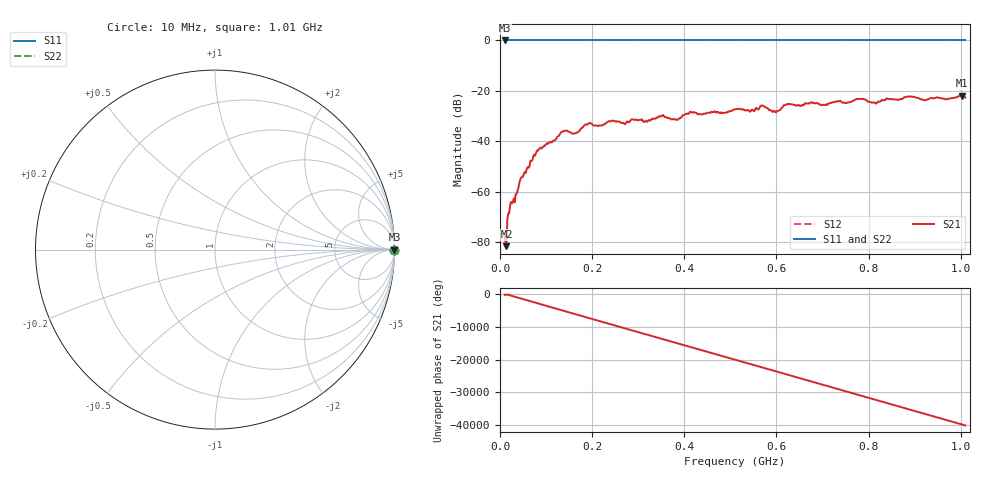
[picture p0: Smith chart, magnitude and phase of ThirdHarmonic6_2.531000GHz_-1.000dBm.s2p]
! 8/17/2025 5:03:02 AM
! C:\ANRITSUVNA\TEMP\TEMP.S2P
! CHANNEL.1
! TR.MEASUREMENT
! RAW.DATA
! RF.CORRECTION.OFF
! AVERAGING.OFF
! IF.BANDWIDTH: 5KHZ
! SWEEPTYPE:  FREQ.SWEEP(Linear)
! Reference Plane Port Info
! PORT:  PORT1  PORT2
! DISTANCE:  0  m  0  m
! TIME:  0  s  0  s
! PHASE.OFFSET:  0  deg.  0  deg.
! LOSS:  0  dB  0  dB
! REF.LOSS:  0  dB  0  dB
! REF.FREQ:  0  Hz  0  Hz
! Power Info
! POWER:  -20  dBm  -20  dBm
! EFF.POWER:  -20  dBm  -20  dBm
! SOURCE.ATTEN:  0  dB  0  dB
! TEST.ATTEN:  0  dB  0  dB
# GHZ S RI R 50.0
! FREQ.GHZ  S11RE  S11IM  S21RE  S21IM  S12RE  S12IM  S22RE  S22IM
!; PortSelection: Port_12
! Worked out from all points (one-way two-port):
!   501 points, 10 MHz to 1.01 GHz, reference 50 ohm
!   highest |S21| = -21.84 dB at 1.002 GHz (marker M1); lowest = -81.5 dB at 14 MHz (marker M2)
!   lowest |S11| = 0.0 dB at 10 MHz (marker M3)
!   |S11| at or under -10 dB: nowhere
!   |S22| runs from 0.0 to 0.0 dB; largest |S21 - S12| = 1.1
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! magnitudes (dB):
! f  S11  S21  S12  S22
! 10 MHz  0.0  -76.8  0.0  0.0
! 14 MHz  0.0  -81.5  0.0  0.0
! 20 MHz  0.0  -68.5  0.0  0.0
! 26 MHz  0.0  -64.6  0.0  0.0
! 36 MHz  0.0  -60.9  0.0  0.0
! 46 MHz  0.0  -54.3  0.0  0.0
! 76 MHz  0.0  -45.6  0.0  0.0
! 136 MHz  0.0  -36.2  0.0  0.0
! 162 MHz  0.0  -36.9  0.0  0.0
! 178 MHz  0.0  -34.7  0.0  0.0
! 344 MHz  0.0  -30.3  0.0  0.0
! 384 MHz  0.0  -31.5  0.0  0.0
! 416 MHz  0.0  -28.6  0.0  0.0
! 510 MHz  0.0  -27.3  0.0  0.0
! 548 MHz  0.0  -27.5  0.0  0.0
! 570 MHz  0.0  -25.8  0.0  0.0
! 596 MHz  0.0  -27.9  0.0  0.0
! 624 MHz  0.0  -25.1  0.0  0.0
! 678 MHz  0.0  -24.8  0.0  0.0
! 844 MHz  0.0  -23.2  0.0  0.0
! 1.002 GHz  0.0  -21.8  0.0  0.0
! 1.01 GHz  0.0  -22.7  0.0  0.0
